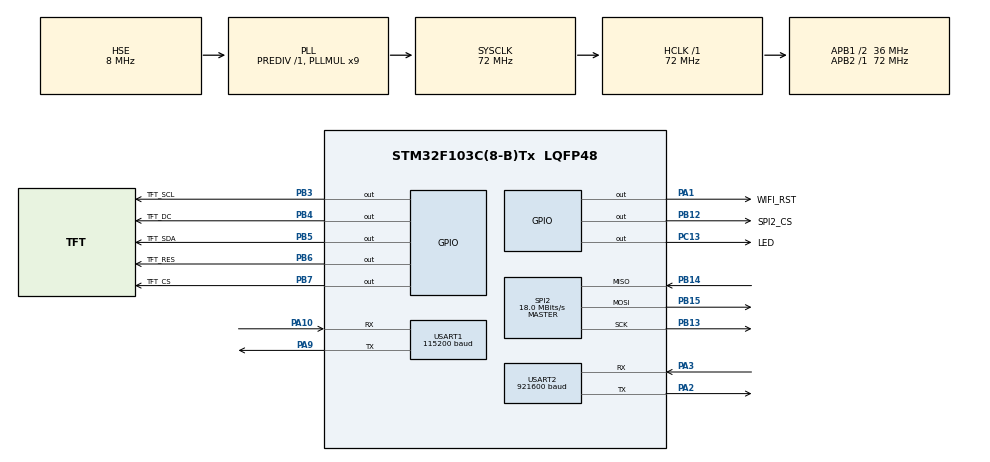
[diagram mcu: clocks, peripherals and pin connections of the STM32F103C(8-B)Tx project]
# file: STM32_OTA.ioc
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Dma.Request0=USART2_RX
Dma.USART2_RX.0.Direction=DMA_PERIPH_TO_MEMORY
Dma.USART2_RX.0.Instance=DMA1_Channel6
Dma.USART2_RX.0.MemDataAlignment=DMA_MDATAALIGN_BYTE
Dma.USART2_RX.0.MemInc=DMA_MINC_ENABLE
Dma.USART2_RX.0.Mode=DMA_NORMAL
Dma.USART2_RX.0.PeriphDataAlignment=DMA_PDATAALIGN_BYTE
Dma.USART2_RX.0.PeriphInc=DMA_PINC_DISABLE
Dma.USART2_RX.0.Priority=DMA_PRIORITY_LOW
Mcu.Family=STM32F1
Mcu.Name=STM32F103C(8-B)Tx
Mcu.Package=LQFP48
NVIC.DMA1_Channel6_IRQn=true\:0\:0\:false\:false\:true\:false\:true\:true
NVIC.PriorityGroup=NVIC_PRIORITYGROUP_4
NVIC.USART1_IRQn=true\:0\:0\:false\:false\:true\:true\:true\:true
NVIC.USART2_IRQn=true\:0\:0\:false\:false\:true\:true\:true\:true
PA1.GPIO_Label=WIFI_RST
PA1.PinState=GPIO_PIN_SET
PA1.Signal=GPIO_Output
PA10.Mode=Asynchronous
PA10.Signal=USART1_RX
PA13.Mode=Serial_Wire
PA13.Signal=SYS_JTMS-SWDIO
PA14.Mode=Serial_Wire
PA14.Signal=SYS_JTCK-SWCLK
PA2.Mode=Asynchronous
PA2.Signal=USART2_TX
PA3.Mode=Asynchronous
PA3.Signal=USART2_RX
PA9.Mode=Asynchronous
PA9.Signal=USART1_TX
PB12.GPIO_Label=SPI2_CS
PB12.GPIO_PuPd=GPIO_PULLUP
PB12.GPIO_Speed=GPIO_SPEED_FREQ_LOW
PB12.PinState=GPIO_PIN_RESET
PB12.Signal=GPIO_Output
PB13.Mode=Full_Duplex_Master
PB13.Signal=SPI2_SCK
PB14.Mode=Full_Duplex_Master
PB14.Signal=SPI2_MISO
PB15.Mode=Full_Duplex_Master
PB15.Signal=SPI2_MOSI
PB3.GPIO_Label=TFT_SCL
PB3.Signal=GPIO_Output
PB4.GPIO_Label=TFT_DC
PB4.Signal=GPIO_Output
PB5.GPIO_Label=TFT_SDA
PB5.Signal=GPIO_Output
PB6.GPIO_Label=TFT_RES
PB6.Signal=GPIO_Output
PB7.GPIO_Label=TFT_CS
PB7.Signal=GPIO_Output
PC13-TAMPER-RTC.GPIO_Label=LED
PC13-TAMPER-RTC.Signal=GPIO_Output
PC14-OSC32_IN.Mode=LSE-External-Oscillator
PC14-OSC32_IN.Signal=RCC_OSC32_IN
PC15-OSC32_OUT.Mode=LSE-External-Oscillator
PC15-OSC32_OUT.Signal=RCC_OSC32_OUT
PD0-OSC_IN.Mode=HSE-External-Oscillator
PD0-OSC_IN.Signal=RCC_OSC_IN
PD1-OSC_OUT.Mode=HSE-External-Oscillator
PD1-OSC_OUT.Signal=RCC_OSC_OUT
ProjectManager.HeapSize=0x200
ProjectManager.StackSize=0x400
ProjectManager.TargetToolchain=MDK-ARM V5.32
RCC.AHBFreq_Value=72000000
RCC.APB1CLKDivider=RCC_HCLK_DIV2
RCC.APB1Freq_Value=36000000
RCC.APB1TimFreq_Value=72000000
RCC.APB2Freq_Value=72000000
RCC.APB2TimFreq_Value=72000000
RCC.HCLKFreq_Value=72000000
RCC.PLLMUL=RCC_PLL_MUL9
RCC.PLLSourceVirtual=RCC_PLLSOURCE_HSE
RCC.SYSCLKFreq_VALUE=72000000
RCC.SYSCLKSource=RCC_SYSCLKSOURCE_PLLCLK
RCC.USBFreq_Value=72000000
SPI2.BaudRatePrescaler=SPI_BAUDRATEPRESCALER_2
SPI2.CalculateBaudRate=18.0 MBits/s
SPI2.Direction=SPI_DIRECTION_2LINES
SPI2.Mode=SPI_MODE_MASTER
SPI2.VirtualType=VM_MASTER
USART1.BaudRate=115200
USART1.VirtualMode=VM_ASYNC
USART2.BaudRate=921600
USART2.VirtualMode=VM_ASYNC
board=custom

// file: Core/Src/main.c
/* USER CODE BEGIN Header */
/**
  ******************************************************************************
  * @file           : main.c
  * @brief          : Main program body
  ******************************************************************************
  * @attention
  *
  * Copyright (c) 2024 STMicroelectronics.
  * All rights reserved.
  *
  * This software is licensed under terms that can be found in the LICENSE file
  * in the root directory of this software component.
  * If no LICENSE file comes with this software, it is provided AS-IS.
  *
  ******************************************************************************
  */
/* USER CODE END Header */
#include "main.h"
#include "dma.h"
#include "spi.h"
#include "usart.h"
#include "gpio.h"

/* USER CODE BEGIN Includes */
#include <stdio.h>
#include <stdint.h>
#include "w25qxx.h"
#include "bootloader.h"
#include "myflash.h"
/* USER CODE END Includes */

/* USER CODE BEGIN PV */

OTA_Info OTA_Info_t;

UpData_Info UpData_Info_t;

uint32_t boot_startflag;
uint32_t i;
/* USER CODE END PV */

void SystemClock_Config(void);

int main(void)
{

    /* MCU Configuration--------------------------------------------------------*/

    /* Reset of all peripherals, Initializes the Flash interface and the Systick. */
    HAL_Init();

    /* Configure the system clock */
    SystemClock_Config();

    /* Initialize all configured peripherals */
    MX_GPIO_Init();
    MX_DMA_Init();
    MX_USART1_UART_Init();
    MX_USART2_UART_Init();
    MX_SPI2_Init();
    /* USER CODE BEGIN 2 */
    __HAL_UART_ENABLE_IT(&huart2,UART_IT_IDLE);
    HAL_UART_Receive_DMA(&huart2,WIFI_RX_Data_t.rxdata_in->start,WIFI_RX_MAX);
    BSP_W25Qx_Init();
//    HAL_GPIO_WritePin(LED_GPIO_Port,LED_Pin,GPIO_PIN_SET);

    bootloader_judge();//判断是否跳转到A区
    /* USER CODE END 2 */

    /* Infinite loop */
    /* USER CODE BEGIN WHILE */
    while (1)
    {
        HAL_Delay(10);
        if(WIFI_RX_Data_t.rxdata_out != WIFI_RX_Data_t.rxdata_in)//串口接收的数据记录。（因为是空闲中断，数据长度是不定的，且开启了DMA搬运功能，需要将一段数据搬运到数组里，并记录这段数据的开头地址和结束地址，参考队列的实现方式）
        {
            bootloader_event(WIFI_RX_Data_t.rxdata_out->start,WIFI_RX_Data_t.rxdata_out->end - WIFI_RX_Data_t.rxdata_out->start +1);//把数据段的起始地址和地址的长度传进去
            WIFI_RX_Data_t.rxdata_out++;
            if(WIFI_RX_Data_t.rxdata_out == WIFI_RX_Data_t.rxdata_end)//这个队列到头了的话
            {
                WIFI_RX_Data_t.rxdata_out = &WIFI_RX_Data_t.rxdata_block[0];//重修指到开头，防止数组溢出
            }

        }

        if(boot_startflag & IAP_XMODEM_FLAG)//开始Xmodem传输（这个标志位在bootloader_event函数里面被置位或者清零）
        {
            if(UpData_Info_t.Xmodemtime>=100)//搭配整个系统10ms的延时，这里进来就是1秒
            {
                wifi_printf("C");        //每秒钟发一个字符C告诉上位机准备OK，等待接收程序
                UpData_Info_t.Xmodemtime = 0;//计时的标量
            }
            UpData_Info_t.Xmodemtime++;
        }

        if(boot_startflag & UPDATA_A_FLAG)  //开始A区更新（这个标志位在bootloader_event函数里面被置位或者清零）
        {
            wifi_printf("长度%d字节\r\n",OTA_Info_t.firelen[UpData_Info_t.W25Q32_BlockNumber]);
            if(0 == OTA_Info_t.firelen[UpData_Info_t.W25Q32_BlockNumber] % 4) //检查数据包长度
            {
                stm32_eraseflash(STM32_A_START_PAGE_NUM,STM32_A_PAGE_NUM); //写入A区之前先擦除A区
                for(i=0; i<OTA_Info_t.firelen[UpData_Info_t.W25Q32_BlockNumber]/STM32_PAGE_SIZES; i++)//先分解数据包 算出来有多少k 再按照每次1k的量来写入
                {
                    BSP_W25Qx_Read_Data(UpData_Info_t.Updatabuff,i*1024+UpData_Info_t.W25Q32_BlockNumber*64*1024,STM32_PAGE_SIZES);  //直接从外部flash面先读到缓存数组
                    stm32_writeflash(STM32_A_START_ADDR + i * STM32_PAGE_SIZES,(uint32_t *)UpData_Info_t.Updatabuff,STM32_PAGE_SIZES);//然后写入到单片机
                }
                if(0 != OTA_Info_t.firelen[UpData_Info_t.W25Q32_BlockNumber] % 1024 )// 如果最后的数据不足1k了，就不需要便宜1k的地址，直接写入就好了
                {
                    BSP_W25Qx_Read_Data(UpData_Info_t.Updatabuff,i*1024+UpData_Info_t.W25Q32_BlockNumber*64*1024,OTA_Info_t.firelen[UpData_Info_t.W25Q32_BlockNumber] % 1024);//直接从外部flash面先读到缓存数组
                    stm32_writeflash(STM32_A_START_ADDR + i * STM32_PAGE_SIZES,(uint32_t *)UpData_Info_t.Updatabuff,OTA_Info_t.firelen[UpData_Info_t.W25Q32_BlockNumber] % 1024);//然后写入到单片机
                }
                if(0 == OTA_Info_t.firelen[UpData_Info_t.W25Q32_BlockNumber])//等到缓存数组里的数据下完了就把标志位清掉
                {
                    OTA_Info_t.ota_flag=0;
                    write_otainfo();//保存当前版本信息
                    boot_startflag &=~ UPDATA_A_FLAG;
                }
                wifi_printf("A区更新完毕\r\n");
                NVIC_SystemReset();//重启单片机
            }
            else
            {
                wifi_printf("长度错误\r\n");
                boot_startflag &=~ UPDATA_A_FLAG;
            }

        }

        /* USER CODE END WHILE */

    }
}

void SystemClock_Config(void)
{
    RCC_OscInitTypeDef RCC_OscInitStruct = {0};
    RCC_ClkInitTypeDef RCC_ClkInitStruct = {0};

    /** Initializes the RCC Oscillators according to the specified parameters
    * in the RCC_OscInitTypeDef structure.
    */
    RCC_OscInitStruct.OscillatorType = RCC_OSCILLATORTYPE_HSE;
    RCC_OscInitStruct.HSEState = RCC_HSE_ON;
    RCC_OscInitStruct.HSEPredivValue = RCC_HSE_PREDIV_DIV1;
    RCC_OscInitStruct.HSIState = RCC_HSI_ON;
    RCC_OscInitStruct.PLL.PLLState = RCC_PLL_ON;
    RCC_OscInitStruct.PLL.PLLSource = RCC_PLLSOURCE_HSE;
    RCC_OscInitStruct.PLL.PLLMUL = RCC_PLL_MUL9;
    if (HAL_RCC_OscConfig(&RCC_OscInitStruct) != HAL_OK)
    {
        Error_Handler();
    }

    /** Initializes the CPU, AHB and APB buses clocks
    */
    RCC_ClkInitStruct.ClockType = RCC_CLOCKTYPE_HCLK|RCC_CLOCKTYPE_SYSCLK
                                  |RCC_CLOCKTYPE_PCLK1|RCC_CLOCKTYPE_PCLK2;
    RCC_ClkInitStruct.SYSCLKSource = RCC_SYSCLKSOURCE_PLLCLK;
    RCC_ClkInitStruct.AHBCLKDivider = RCC_SYSCLK_DIV1;
    RCC_ClkInitStruct.APB1CLKDivider = RCC_HCLK_DIV2;
    RCC_ClkInitStruct.APB2CLKDivider = RCC_HCLK_DIV1;

    if (HAL_RCC_ClockConfig(&RCC_ClkInitStruct, FLASH_LATENCY_2) != HAL_OK)
    {
        Error_Handler();
    }
}

void Error_Handler(void)
{
    __disable_irq();
    while (1)
    {
    }
}
